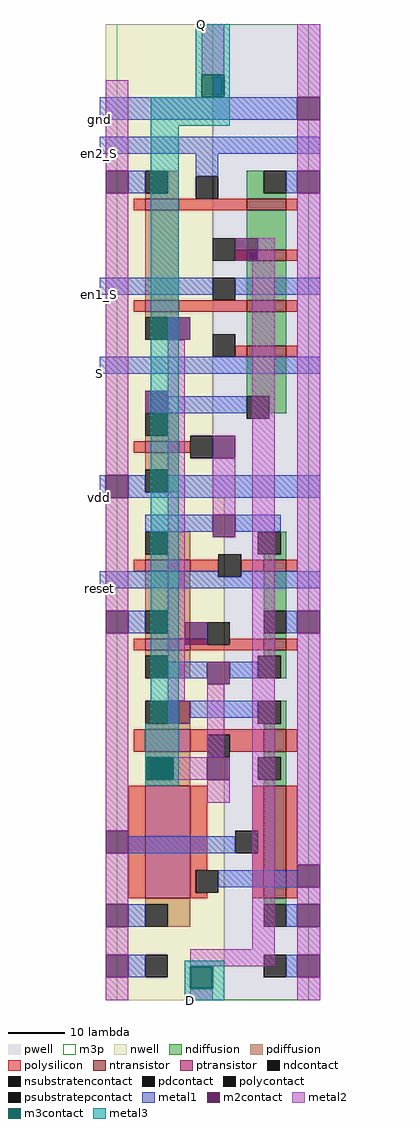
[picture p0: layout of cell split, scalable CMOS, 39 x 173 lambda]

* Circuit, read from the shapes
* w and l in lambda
.subckt split D Q S en1_S en2_S gnd reset vdd
M1 n1 S n2 gnd nfet w=7 l=2
M2 n3 en1_S n1 gnd nfet w=7 l=2
M3 n4 D n3 gnd nfet w=7 l=2
M4 gnd en2_S n4 gnd nfet w=7 l=2
M5 n5 vdd gnd gnd nfet w=4 l=20
M6 n2 Q n5 gnd nfet w=4 l=4
M7 gnd n2 Q gnd nfet w=4 l=2
M8 n6 reset gnd gnd nfet w=4 l=2
M9 n7 gnd vdd vdd pfet w=8 l=20
M10 n2 Q n7 vdd pfet w=8 l=4
M11 vdd n2 Q vdd pfet w=8 l=2
M12 n6 reset vdd vdd pfet w=8 l=2
M13 n2 n6 vdd vdd pfet w=6 l=2
M14 n8 en1_S n2 vdd pfet w=6 l=2
M15 vdd en2_S n8 vdd pfet w=6 l=2
.ends

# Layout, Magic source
magic
tech scmos
<< nwell >>
rect -2 89 17 173
rect -2 0 19 89
<< pwell >>
rect 17 89 36 173
rect 19 0 36 89
<< ntransistor >>
rect 23 140 30 142
rect 23 131 30 133
rect 23 122 30 124
rect 23 114 30 116
rect 26 76 30 78
rect 26 62 30 64
rect 26 44 30 48
rect 26 18 30 38
<< ptransistor >>
rect 5 140 11 142
rect 5 122 11 124
rect 5 97 11 99
rect 5 76 13 78
rect 5 62 13 64
rect 5 44 13 48
rect 5 18 13 38
<< ndiffusion >>
rect 23 143 26 147
rect 23 142 30 143
rect 23 133 30 140
rect 23 124 30 131
rect 23 116 30 122
rect 23 107 30 114
rect 27 104 30 107
rect 29 79 30 83
rect 26 78 30 79
rect 26 69 30 76
rect 26 64 30 65
rect 26 61 30 62
rect 29 57 30 61
rect 29 49 30 53
rect 26 48 30 49
rect 26 43 30 44
rect 29 39 30 43
rect 26 38 30 39
rect 26 17 30 18
<< pdiffusion >>
rect 9 143 11 147
rect 5 142 11 143
rect 5 124 11 140
rect 5 121 11 122
rect 9 117 11 121
rect 9 100 11 104
rect 5 99 11 100
rect 5 94 11 97
rect 9 90 11 94
rect 9 79 13 83
rect 5 78 13 79
rect 5 69 13 76
rect 9 65 13 69
rect 5 64 13 65
rect 5 61 13 62
rect 9 57 13 61
rect 9 49 13 53
rect 5 48 13 49
rect 5 43 13 44
rect 9 39 13 43
rect 5 38 13 39
rect 5 17 13 18
rect 9 13 13 17
<< ndcontact >>
rect 26 143 30 147
rect 23 103 27 107
rect 25 79 29 83
rect 26 65 30 69
rect 25 57 29 61
rect 25 49 29 53
rect 25 39 29 43
rect 26 13 30 17
<< pdcontact >>
rect 5 143 9 147
rect 5 117 9 121
rect 5 100 9 104
rect 5 90 9 94
rect 5 79 9 83
rect 5 65 9 69
rect 5 57 9 61
rect 5 49 9 53
rect 5 39 9 43
rect 5 13 9 17
<< psubstratepcontact >>
rect 26 4 30 8
<< nsubstratencontact >>
rect 5 4 9 8
<< polysilicon >>
rect 3 140 5 142
rect 11 140 23 142
rect 30 140 32 142
rect 21 131 23 133
rect 30 131 32 133
rect 3 122 5 124
rect 11 122 23 124
rect 30 122 32 124
rect 21 114 23 116
rect 30 114 32 116
rect 3 97 5 99
rect 11 97 13 99
rect 3 76 5 78
rect 13 76 18 78
rect 22 76 26 78
rect 30 76 32 78
rect 3 62 5 64
rect 13 63 16 64
rect 20 63 26 64
rect 13 62 26 63
rect 30 62 32 64
rect 3 44 5 48
rect 13 47 26 48
rect 13 44 16 47
rect 20 44 26 47
rect 30 44 32 48
rect 2 18 5 38
rect 13 23 16 38
rect 24 30 26 38
rect 25 26 26 30
rect 13 19 14 23
rect 13 18 16 19
rect 24 18 26 26
rect 30 18 32 38
<< polycontact >>
rect 14 142 18 146
rect 17 131 21 135
rect 17 124 21 128
rect 17 114 21 118
rect 13 96 17 100
rect 18 75 22 79
rect 16 63 20 67
rect 16 43 20 47
rect 21 26 25 30
rect 14 19 18 23
<< metal1 >>
rect -3 156 32 160
rect -3 150 36 153
rect 2 143 5 147
rect 14 146 18 150
rect 30 143 32 147
rect -3 125 17 128
rect 21 125 36 128
rect -3 111 36 114
rect 9 104 23 107
rect -3 89 -2 93
rect 2 90 5 93
rect 9 90 36 93
rect 2 89 36 90
rect 5 83 17 86
rect 21 83 29 86
rect -3 75 18 76
rect 22 75 36 76
rect -3 73 36 75
rect 2 65 5 69
rect 30 65 32 69
rect 9 57 16 60
rect 20 57 25 60
rect 13 50 25 53
rect 2 26 21 29
rect 18 20 32 23
rect 2 13 5 17
rect 30 13 32 17
rect 2 4 5 8
rect 30 4 32 8
<< m2contact >>
rect 32 156 36 160
rect -2 143 2 147
rect 32 143 36 147
rect 21 131 25 135
rect 9 117 13 121
rect 5 104 9 108
rect 17 96 21 100
rect -2 89 2 93
rect 17 82 21 86
rect -2 65 2 69
rect 12 63 16 67
rect 32 65 36 69
rect 16 56 20 60
rect 9 49 13 53
rect 16 39 20 43
rect -2 26 2 30
rect 32 20 36 24
rect -2 13 2 17
rect 32 13 36 17
rect -2 4 2 8
rect 32 4 36 8
<< metal2 >>
rect 15 164 19 173
rect -2 147 2 163
rect 32 160 36 173
rect -2 93 2 143
rect 32 147 36 156
rect 25 131 28 135
rect -2 69 2 89
rect -2 30 2 65
rect 9 53 12 117
rect 17 86 21 96
rect 16 43 19 56
rect 10 39 16 43
rect 16 35 20 39
rect -2 17 2 26
rect -2 8 2 13
rect 24 9 28 131
rect -2 0 2 4
rect 13 6 28 9
rect 32 69 36 143
rect 32 24 36 65
rect 32 17 36 20
rect 32 8 36 13
rect 13 0 17 2
rect 32 0 36 4
<< m3contact >>
rect 15 160 19 164
rect 6 39 10 43
rect 13 2 17 6
<< metal3 >>
rect 14 164 20 173
rect 14 160 15 164
rect 19 160 20 164
rect 6 155 20 160
rect 6 49 11 155
rect 5 43 11 49
rect 5 39 6 43
rect 10 39 11 43
rect 5 38 11 39
rect 12 6 19 7
rect 12 2 13 6
rect 17 2 19 6
rect 12 0 19 2
<< m3p >>
rect 0 0 34 173
<< labels >>
rlabel metal1 -3 73 -3 73 1 reset
rlabel metal1 -3 150 -3 150 1 en2_S
rlabel metal1 -3 111 -3 111 1 S
rlabel metal1 -3 125 -3 125 1 en1_S
rlabel metal1 -3 89 -3 89 1 vdd
rlabel metal1 -3 156 -3 156 3 gnd
rlabel metal3 13 0 13 0 1 D
rlabel metal3 15 173 15 173 5 Q
<< end >>
